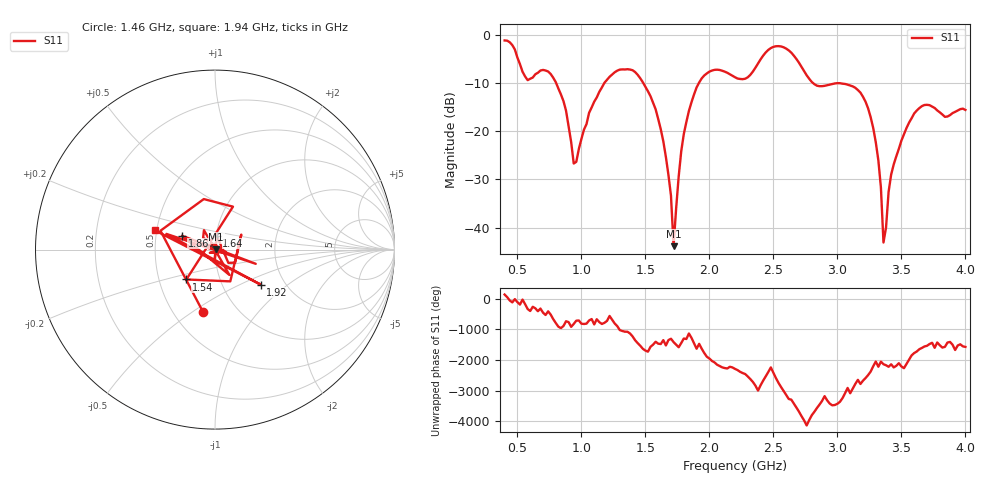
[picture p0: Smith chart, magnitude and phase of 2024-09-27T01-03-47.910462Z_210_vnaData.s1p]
!Created with skrf (http://scikit-rf.org).
# Hz S RI R 50.0
!freq ReS11 ImS11
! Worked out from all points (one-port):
!   181 points, 400 MHz to 4 GHz, reference 50 ohm
!   lowest |S11| = -43.9 dB at 1.72 GHz (marker M1), VSWR 1.01, Z = 50.6 + j0.213 ohm
!   |S11| at or under -10 dB: 802.5 MHz to 1.179 GHz (376.7 MHz wide, 38 % of centre); 1.483 GHz to 1.918 GHz (435 MHz wide, 25.6 % of centre); 2.809 GHz to end of sweep
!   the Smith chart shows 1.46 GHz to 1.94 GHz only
!   S11 on the Smith chart (normalised r, x): 1.46 GHz: 0.70, -0.55; 1.54 GHz: 0.69, -0.24; 1.64 GHz: 1.01, +0.16; 1.86 GHz: 0.68, +0.11; 1.92 GHz: 1.51, -0.65; 1.94 GHz: 0.49, +0.12
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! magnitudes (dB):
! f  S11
! 400 MHz  -1.2
! 580 MHz  -9.4
! 740 MHz  -7.6
! 860 MHz  -13.8
! 940 MHz  -26.7
! 1.1 GHz  -13.9
! 1.3 GHz  -7.2
! 1.46 GHz  -9.0
! 1.54 GHz  -12.7
! 1.64 GHz  -22.1
! 1.7 GHz  -33.4
! 1.72 GHz  -43.9
! 1.76 GHz  -29.4
! 1.86 GHz  -14.0
! 1.92 GHz  -9.9
! 1.94 GHz  -9.0
! 2.2 GHz  -8.8
! 2.5 GHz  -2.5
! 2.66 GHz  -4.3
! 2.84 GHz  -10.6
! 3.1 GHz  -10.5
! 3.28 GHz  -19.4
! 3.34 GHz  -31.7
! 3.36 GHz  -43.1
! 3.42 GHz  -29.0
! 3.56 GHz  -18.2
! 3.68 GHz  -14.6
! 4 GHz  -15.6
